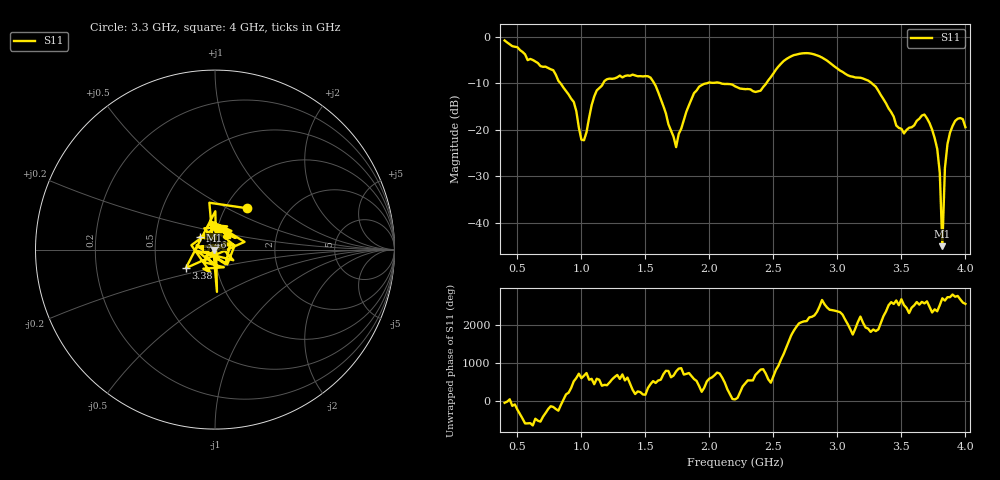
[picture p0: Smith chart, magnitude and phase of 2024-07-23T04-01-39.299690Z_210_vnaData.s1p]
!Created with skrf (http://scikit-rf.org).
# Hz S RI R 50.0
!freq ReS11 ImS11
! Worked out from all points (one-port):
!   181 points, 400 MHz to 4 GHz, reference 50 ohm
!   lowest |S11| = -45.0 dB at 3.82 GHz (marker M1), VSWR 1.01, Z = 49.5 - j0.168 ohm
!   |S11| at or under -10 dB: 1.569 GHz to 1.979 GHz (410 MHz wide, 23.1 % of centre); 2.091 GHz to 2.444 GHz (353.2 MHz wide, 15.6 % of centre); 3.269 GHz to end of sweep (the widest 3 of 4)
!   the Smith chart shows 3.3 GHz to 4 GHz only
!   S11 on the Smith chart (normalised r, x): 3.3 GHz: 1.25, +0.63; 3.38 GHz: 0.71, -0.15; 3.46 GHz: 0.83, +0.12; 4 GHz: 1.13, +0.19
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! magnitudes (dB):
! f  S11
! 400 MHz  -0.8
! 780 MHz  -7.2
! 860 MHz  -10.9
! 940 MHz  -14.0
! 1 GHz  -22.1
! 1.02 GHz  -22.2
! 1.12 GHz  -11.5
! 1.3 GHz  -8.3
! 1.54 GHz  -8.8
! 1.74 GHz  -23.7
! 1.76 GHz  -20.9
! 1.92 GHz  -10.7
! 2.2 GHz  -10.6
! 2.4 GHz  -11.6
! 2.66 GHz  -3.9
! 3.1 GHz  -8.5
! 3.3 GHz  -10.7
! 3.38 GHz  -14.3
! 3.46 GHz  -19.1
! 3.56 GHz  -19.6
! 3.68 GHz  -16.7
! 3.76 GHz  -21.8
! 3.8 GHz  -29.2
! 3.82 GHz  -45.0
! 3.84 GHz  -28.2
! 3.86 GHz  -23.1
! 3.92 GHz  -18.1
! 4 GHz  -19.4
